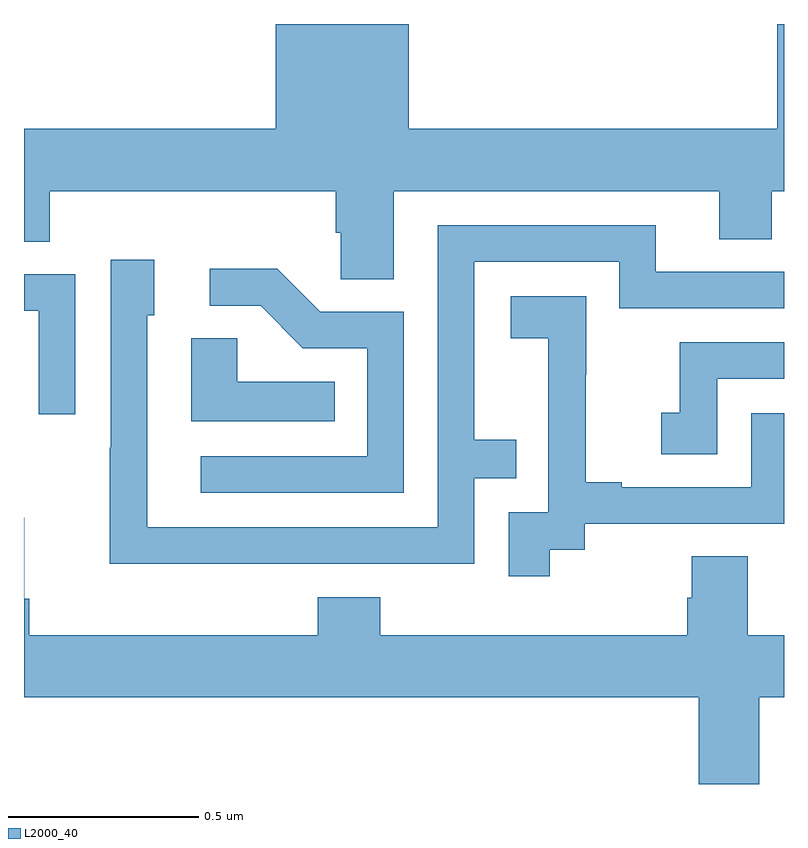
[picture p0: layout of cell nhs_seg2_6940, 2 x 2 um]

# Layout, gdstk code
import gdstk
lib = gdstk.Library(unit=1e-6, precision=1e-09)
def P(c, l, *ps):  # polygons
    for p in ps: c.add(gdstk.Polygon(p, *l))
L2000_40 = (2000, 40)

nhs_seg2_6940 = lib.new_cell('nhs_seg2_6940')
P(nhs_seg2_6940, L2000_40, [(198.973,590.36),(199.829,590.36),(199.829,590.233),(199.968,590.233),(199.968,590.36),(200,590.36),(200,590.8),(199.982,590.8),(199.982,590.524),(199.012,590.524),(199.012,590.8),(198.662,590.8),(198.662,590.524),(198,590.524),(198,590.227),(198.068,590.227),(198.068,590.36),(198.821,590.36),(198.821,590.251),(198.834,590.251),(198.834,590.128),(198.973,590.128)],
  [(198.689,589.38),(199.185,589.38),(199.185,589.605),(199.295,589.605),(199.295,589.706),(199.185,589.706),(199.185,590.175),(199.566,590.175),(199.566,590.052),(200,590.052),(200,590.148),(199.663,590.148),(199.663,590.271),(199.089,590.271),(199.089,589.476),(198.324,589.476),(198.324,590.034),(198.343,590.034),(198.343,590.179),(198.228,590.179),(198.228,589.685),(198.226,589.685),(198.226,589.379),(198.689,589.379)],
  [(198.999,590.043),(198.78,590.043),(198.667,590.156),(198.489,590.156),(198.489,590.058),(198.623,590.058),(198.734,589.947),(198.903,589.947),(198.903,589.662),(198.465,589.662),(198.465,589.566),(198.999,589.566)],
  [(198.135,590.142),(198,590.142),(198,590.046),(198.039,590.046),(198.039,589.773),(198.135,589.773)],
  [(199.384,589.417),(199.476,589.417),(199.476,589.485),(200,589.485),(200,589.776),(199.914,589.776),(199.914,589.581),(199.573,589.581),(199.573,589.594),(199.478,589.594),(199.478,589.877),(199.479,589.877),(199.479,590.083),(199.281,590.083),(199.281,589.973),(199.379,589.973),(199.379,589.745),(199.38,589.745),(199.38,589.515),(199.275,589.515),(199.275,589.347),(199.384,589.347)],
  [(198.818,589.858),(198.561,589.858),(198.561,589.973),(198.44,589.973),(198.44,589.754),(198.818,589.754)],
  [(199.824,589.866),(200,589.866),(200,589.962),(199.726,589.962),(199.726,589.777),(199.677,589.777),(199.677,589.668),(199.824,589.668)],
  [(199.935,589.028),(200,589.028),(200,589.192),(199.905,589.192),(199.905,589.4),(199.757,589.4),(199.757,589.29),(199.745,589.29),(199.745,589.192),(198.938,589.192),(198.938,589.291),(198.773,589.291),(198.773,589.192),(198.014,589.192),(198.014,589.288),(198.001,589.288),(198.001,589.501),(198,589.501),(198,589.028),(199.775,589.028),(199.775,588.8),(199.935,588.8)])

lib.write_gds('nhs_seg2_6940.gds')
